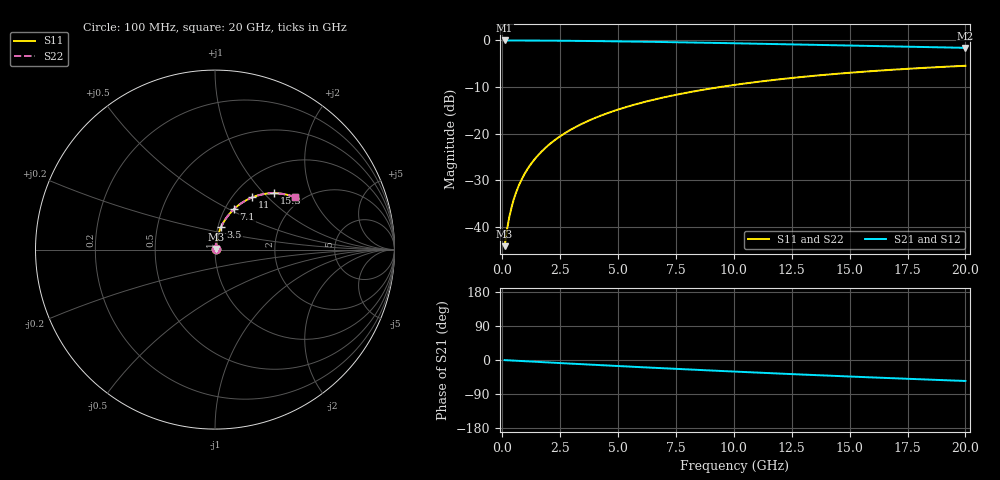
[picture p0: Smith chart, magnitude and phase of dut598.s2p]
! Touchstone file exported from HFSS 2026.1.0
!  File:  C:/ffzhzh/LocalFiles/Ansys_Project_Files/temp_train_TMRDL_598_1783008558_53980.aedt
!  Generated:  12:10:57 AM Jul  3, 2026
!  Design:  TMRDL
!  Project:  temp_train_TMRDL_598_1783008558_53980
! Variables:
!  h_bsmrdl = 2um
!  h_ox = 20um
!  h_rdl = 5um
!  h_sub = 80um
!  h_tmrdl = 5.77um
!  h_tsv = 80um
!  h_via = 3um
!  l_bsmrdl = 300um
!  l_sub = 1243.25um
!  l_tmrdl = 843.25um
!  m_sub = 200um
!  pitch = 39.53um
!  r_tsv = 6um
!  s_tmrdl = 10um
!  w_bsmrdl = 18um
!  w_sub = 500um
!  w_tmrdl = 10.6um
!  x_tsv_center1 = 848.55um
!  x_tsv_center2 = 1166.55um
!  x_tsv_center3 = 2020.4um
!  x_tsv_center4 = 2338.4um
!  x_tsv_center5 = 3192.25um
!  x_tsv_center6 = 3510.25um
# GHz S MA R 50.000000
! Terminal data exported
! Port[1] = TM_RDL1_1_T1
! Port[2] = TM_RDL1_1_T2
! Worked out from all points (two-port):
!   200 points, 100 MHz to 20 GHz, reference 50 ohm
!   highest |S21| = -0.04 dB at 100 MHz (marker M1); lowest = -1.6 dB at 20 GHz (marker M2)
!   |S21| within 3 dB of the highest: start of sweep to end of sweep
!   lowest |S11| = -44.1 dB at 100 MHz (marker M3), VSWR 1.01, Z = 50.5 + j0.395 ohm
!   |S11| at or under -10 dB: start of sweep to 9.417 GHz
!   |S22| runs from -44.1 to -5.5 dB; largest |S21 - S12| = 4.3e-15
!   S11 on the Smith chart (normalised r, x): 100 MHz: 1.01, +0.01; 3.5 GHz: 1.04, +0.26; 7.1 GHz: 1.10, +0.53; 11 GHz: 1.23, +0.82; 15.3 GHz: 1.44, +1.14; 20 GHz: 1.83, +1.49
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0.1  0.006262 38.7  0.9951 -0.3  0.9951 -0.3  0.006262 38.7
! Gamma 0 0 0 0
! Port Impedance 50 0 50 0
0.2  0.009276 57.0  0.995 -0.7  0.995 -0.7  0.009276 57.0
0.3  0.01274 65.6  0.9949 -1.0  0.9949 -1.0  0.01274 65.6
0.4  0.01635 70.2  0.9947 -1.3  0.9947 -1.3  0.01635 70.2
0.5  0.02 73.1  0.9945 -1.7  0.9945 -1.7  0.02 73.1
0.6  0.02368 74.9  0.9944 -2.0  0.9944 -2.0  0.02368 74.9
0.8  0.03109 77.2  0.994 -2.6  0.994 -2.6  0.03109 77.2
1.1  0.04226 78.6  0.9934 -3.6  0.9934 -3.6  0.04226 78.6
1.5  0.05714 79.0  0.9923 -4.9  0.9923 -4.9  0.05714 79.0
2.1  0.07932 78.4  0.9902 -6.8  0.9902 -6.8  0.07932 78.4
2.7  0.1012 77.1  0.9876 -8.8  0.9876 -8.8  0.1012 77.1
3.5  0.1298 75.0  0.9833 -11.3  0.9833 -11.3  0.1298 75.0
5  0.1813 70.9  0.9733 -15.9  0.9733 -15.9  0.1813 70.8
6.8  0.2394 65.8  0.9589 -21.3  0.9589 -21.3  0.2394 65.8
7.1  0.2487 64.9  0.9563 -22.2  0.9563 -22.2  0.2487 64.9
8.5  0.2904 61.1  0.9436 -26.3  0.9436 -26.3  0.2904 61.1
10.1  0.3348 56.8  0.928 -30.8  0.928 -30.8  0.3348 56.8
11  0.3582 54.4  0.9189 -33.2  0.9189 -33.2  0.3582 54.4
13.4  0.4153 48.3  0.8942 -39.6  0.8942 -39.6  0.4153 48.3
15.3  0.4549 43.7  0.8746 -44.3  0.8746 -44.3  0.4549 43.7
16.7  0.4811 40.4  0.8606 -47.7  0.8606 -47.7  0.4811 40.4
20  0.5333 33.0  0.8297 -55.3  0.8297 -55.3  0.5334 33.0
